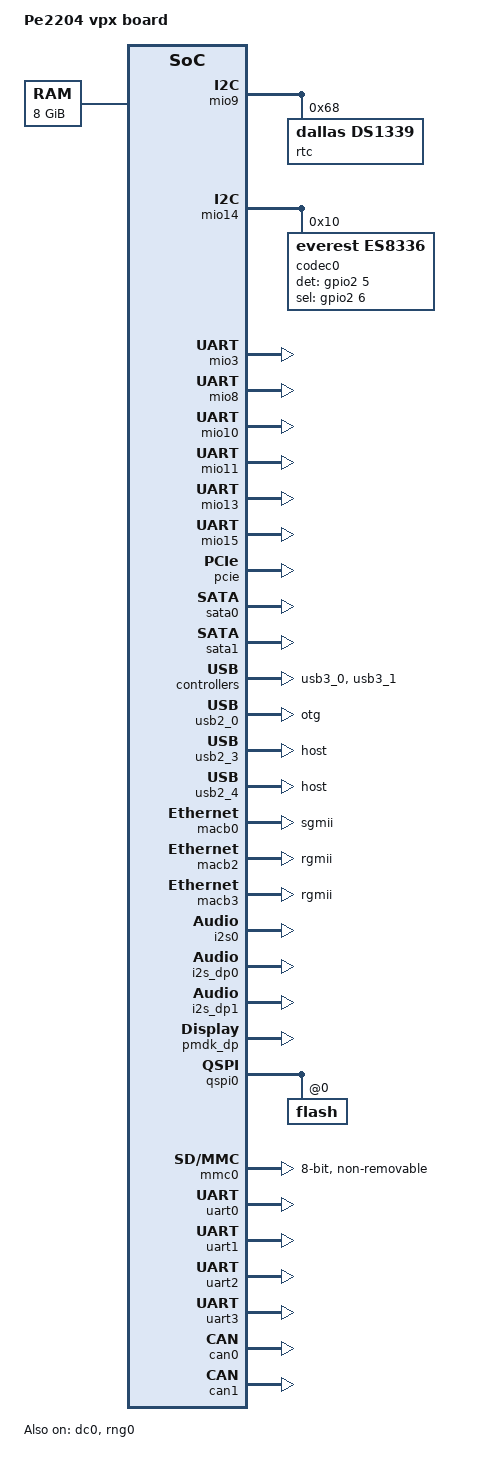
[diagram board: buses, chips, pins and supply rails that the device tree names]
// SPDX-License-Identifier: GPL-2.0
/*
 * DTS file for Phytium Pe2204 vpx board.
 *
 * Copyright (c) 2022-2023 Phytium Technology Co., Ltd.
 *
 * Tianyu Liu <liutianyu1250@phytium.com.cn>
 *
 * This program is free software; you can redistribute it and/or
 * modify it under the terms of the GNU General Public License as
 * published by the Free Software Foundation; either version 2 of
 * the License, or (at your option) any later version.
 */

/dts-v1/;
/memreserve/ 0x80000000 0x10000;

#include "pe2204.dtsi"

/{
	model = "Pe2204 vpx board";
	compatible = "phytium,pe2204";

	chosen {
		stdout-path = "serial1:115200n8";
	};

	memory@00{
		device_type = "memory";
		reg = <0x0 0x80000000 0x2 0x00000000>;
	};
	aliases {
		serial4 = &mio3;
		serial5 = &mio8;
		serial6 = &mio10;
		serial7 = &mio11;
		serial8 = &mio15;
	};

	sound_card: sound {
		compatible = "simple-audio-card";
		simple-audio-card,format = "i2s";
		simple-audio-card,name = "phytium,pe220x-i2s-audio";
		simple-audio-card,cpu {
			sound-dai = <&i2s0>;
		};
		simple-audio-card,codec{
			sound-dai = <&codec0>;
		};
	};
};

&soc {
	mio9: i2c@28026000 {
		compatible = "phytium,i2c";
		reg = <0x0 0x28026000 0x0 0x1000>;
		interrupts = <GIC_SPI 101 IRQ_TYPE_LEVEL_HIGH>;
		clocks = <&sysclk_50mhz>;
		#address-cells = <1>;
		#size-cells = <0>;
		status = "okay";

		rtc@68 {
			compatible = "dallas,ds1339";
			reg = <0x68>;
		};
	};

	mio14: i2c@28030000 {
		compatible = "phytium,i2c";
		reg = <0x0 0x28030000 0x0 0x1000>;
		interrupts = <GIC_SPI 106 IRQ_TYPE_LEVEL_HIGH>;
		clocks = <&sysclk_50mhz>;
		#address-cells = <1>;
		#size-cells = <0>;
		status = "okay";

		codec0: es8336@10 {
			det-gpios = <&gpio2 5 0>;
			sel-gpios = <&gpio2 6 0>;
			#sound-dai-cells = <0>;
			compatible = "everest,es8336";
			reg = <0x10>;
			mic-src = [30];
		};
	};

	mio3: uart@2801A000 {
		compatible = "arm,pl011","arm,primecell";
		reg = <0x0 0x2801A000 0x0 0x1000>;
		interrupts = <GIC_SPI 95 IRQ_TYPE_LEVEL_HIGH>;
		clocks = <&sysclk_50mhz &sysclk_50mhz>;
		clock-names = "uartclk", "apb_pclk";
		status = "okay";
	};

	mio8: uart@28024000 {
		compatible = "arm,pl011","arm,primecell";
		reg = <0x0 0x28024000 0x0 0x1000>;
		interrupts = <GIC_SPI 100 IRQ_TYPE_LEVEL_HIGH>;
		clocks = <&sysclk_50mhz &sysclk_50mhz>;
		clock-names = "uartclk", "apb_pclk";
		status = "okay";
	};

	mio10: uart@28028000 {
		compatible = "arm,pl011","arm,primecell";
		reg = <0x0 0x28028000 0x0 0x1000>;
		interrupts = <GIC_SPI 102 IRQ_TYPE_LEVEL_HIGH>;
		clocks = <&sysclk_50mhz &sysclk_50mhz>;
		clock-names = "uartclk", "apb_pclk";
		status = "okay";
	};

	mio11: uart@2802A000 {
		compatible = "arm,pl011","arm,primecell";
		reg = <0x0 0x2802A000 0x0 0x1000>;
		interrupts = <GIC_SPI 103 IRQ_TYPE_LEVEL_HIGH>;
		clocks = <&sysclk_50mhz &sysclk_50mhz>;
		clock-names = "uartclk", "apb_pclk";
		status = "okay";
	};

	mio13: uart@2802E000 {
		compatible = "arm,pl011","arm,primecell";
		reg = <0x0 0x2802E000 0x0 0x1000>;
		interrupts = <GIC_SPI 105 IRQ_TYPE_LEVEL_HIGH>;
		clocks = <&sysclk_50mhz &sysclk_50mhz>;
		clock-names = "uartclk", "apb_pclk";
		status = "okay";
	};

	mio15: uart@28032000 {
		compatible = "arm,pl011","arm,primecell";
		reg = <0x0 0x28032000 0x0 0x1000>;
		interrupts = <GIC_SPI 107 IRQ_TYPE_LEVEL_HIGH>;
		clocks = <&sysclk_50mhz &sysclk_50mhz>;
		clock-names = "uartclk", "apb_pclk";
		status = "okay";
	};
};

&gpio0 {
	status = "okay";
};

&gpio1 {
	status = "okay";
};

&gpio2 {
	status = "okay";
};

&gpio3 {
	status = "okay";
};

&gpio4 {
	status = "okay";
};

&gpio5 {
	status = "okay";
};

&pcie {
	status = "okay";
};

&sata0 {
	status = "okay";
};

&sata1 {
	status = "okay";
};

&usb3_0 {
	status = "okay";
};

&usb3_1 {
	status = "okay";
};

&usb2_0 {
	dr_mode = "otg";
	status = "okay";
};

&usb2_1 {
	dr_mode = "host";
	status = "disabled";
};

&usb2_2 {
	dr_mode = "host";
	status = "disabled";
};

&usb2_3 {
	dr_mode = "host";
	status = "okay";
};

&usb2_4 {
	dr_mode = "host";
	status = "okay";
};

&macb0 {
	phy-mode = "sgmii";
	use-mii;
	status = "okay";
};

&macb2 {
	phy-mode = "rgmii";
	use-mii;
	force-phy-mode;
	status = "okay";
};

&macb3 {
	phy-mode = "rgmii";
	use-mii;
	status = "okay";
};

&dc0 {
	pipe_mask = [03];
	edp_mask = [00];
	status = "okay";
};

&i2s0 {
	#sound-dai-cells = <0>;
	dai-name = "phytium-i2s-lsd";
	status = "okay";
};

&i2s_dp0 {
	status = "okay";
};

&i2s_dp1 {
	status = "okay";
};

&pmdk_dp {
	num-dp = <2>;
	dp-mask = /bits/ 8 <0x3>;
	status = "okay";
};

&qspi0 {
	status = "okay";

	flash@0 {
		status = "okay";
	};
};

&spi0 {
	global-cs = <1>;
	status = "disabled";

	flash: w25q128@0 {
		compatible = "winbond,w25q128", "jedec,spi-nor";
		spi-tx-bus-width = <1>;
		spi-rx-bus-width = <1>;
		spi-max-frequency = <12000000>;
		reg = <0x00>;
		status = "disabled";
	};
};

&spi2 {
	global-cs = <1>;
	status = "disabled";
};

&mmc0 {
	bus-width = <0x00000008>;
	max-frequency = <25000000>;
	cap-mmc-hw-reset;
	cap-mmc-highspeed;
	no-sdio;
	no-sd;
	non-removable;
	status = "okay";
};

&uart0 {
	status = "okay";
};

&uart1 {
	status = "okay";
};

&uart2 {
	status = "okay";
};

&uart3 {
	status = "okay";
};

&can0 {
	status = "okay";
};

&can1 {
	status = "okay";
};

&rng0 {
	status = "okay";
};

